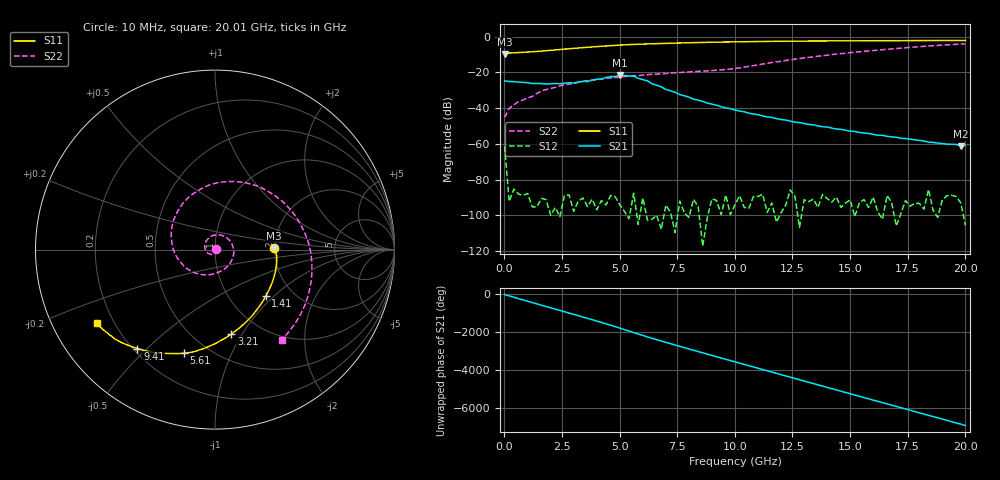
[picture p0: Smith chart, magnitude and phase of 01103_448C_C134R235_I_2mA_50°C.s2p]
!;Filter: kein Filter
!auto
!3/21/2019 9:26:52 AM
!3/21/2019 9:27:07 AM
!SP-Measurements Prober G4
!SP-Measurements Prober G4
!01103_448C
!134
!235
!12
!50
!-20
!0.00199954
!1.75
!0.22129449
!0.22129449
# Hz S  RI  R 50
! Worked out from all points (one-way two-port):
!   101 points, 10 MHz to 20.01 GHz, reference 50 ohm
!   highest |S21| = -21.50 dB at 5.01 GHz (marker M1); lowest = -61.3 dB at 19.81 GHz (marker M2)
!   lowest |S11| = -9.7 dB at 10 MHz (marker M3), VSWR 1.98, Z = 99 + j2.15 ohm
!   |S11| at or under -10 dB: nowhere
!   |S22| runs from -45.2 to -4.1 dB; largest |S21 - S12| = 0.084
!   S11 on the Smith chart (normalised r, x): 10 MHz: 1.98, +0.04; 1.41 GHz: 1.47, -0.89; 3.21 GHz: 0.74, -0.90; 5.61 GHz: 0.37, -0.68; 9.41 GHz: 0.22, -0.47; 20.01 GHz: 0.14, -0.28
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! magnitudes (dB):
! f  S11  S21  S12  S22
! 10 MHz  -9.7  -24.8  -61.4  -45.2
! 210 MHz  -9.2  -25.1  -92.2  -40.1
! 610 MHz  -8.9  -25.5  -88.1  -36.4
! 1.21 GHz  -8.5  -26.2  -95.2  -33.5
! 1.41 GHz  -8.3  -26.3  -95.2  -31.8
! 1.61 GHz  -8.1  -26.3  -90.4  -30.4
! 2.41 GHz  -7.2  -26.4  -100.7  -27.5
! 3.21 GHz  -6.4  -25.5  -91.8  -25.6
! 3.41 GHz  -6.2  -25.0  -90.3  -25.1
! 4.21 GHz  -5.4  -23.8  -91.7  -23.7
! 5.01 GHz  -4.8  -21.5  -94.0  -22.7
! 5.61 GHz  -4.4  -22.1  -87.5  -21.9
! 6.81 GHz  -3.9  -28.1  -107.8  -20.8
! 7.61 GHz  -3.6  -32.4  -92.1  -20.1
! 9.41 GHz  -3.1  -39.2  -99.5  -18.6
! 10.01 GHz  -3.0  -41.1  -94.0  -17.9
! 13.41 GHz  -2.5  -49.3  -90.8  -11.3
! 16.81 GHz  -2.3  -56.1  -92.8  -6.9
! 18.41 GHz  -2.2  -59.0  -85.5  -5.3
! 19.61 GHz  -2.2  -60.3  -89.4  -4.3
! 19.81 GHz  -2.2  -61.3  -92.9  -4.2
! 20.01 GHz  -2.2  -60.8  -105.6  -4.1
